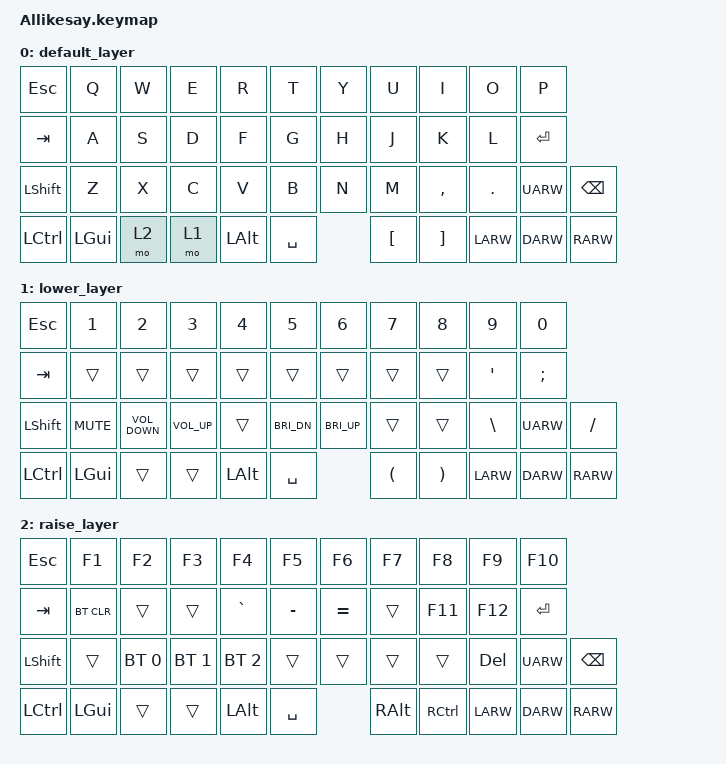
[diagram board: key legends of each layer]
/*
 * Copyright (c) 2020 The ZMK Contributors
 *
 * SPDX-License-Identifier: MIT
 */

#include <behaviors.dtsi>
#include <dt-bindings/zmk/keys.h>
#include <dt-bindings/zmk/bt.h>

/ {
        keymap {
                compatible = "zmk,keymap";

                default_layer {
// -----------------------------------------------------------------------------------------
// | ESC |  Q  |  W  |  E  |  R  |  T  |  Y  |  U   |  I  |  O   |  P   |
// | TAB |  A  |  S  |  D  |  F  |  G  |  H  |  J   |  K  |  L   | ENT  |
// | SHFT|  Z  |  X  |  C  |  V  |  B  |  N  |  M   |  ,  |  .   | UARW | BKSP |
// | CTRL| GUI | ins | num | ALT |     SPC   |  [   |  ]  | LARW | DARW | RARW |
// -----------------------------------------------------------------------------------------

                        bindings = <
   &kp ESC    &kp Q     &kp W   &kp E  &kp R    &kp T       &kp Y     &kp U    &kp I      &kp O     &kp P    
   &kp TAB    &kp A     &kp S   &kp D  &kp F    &kp G       &kp H     &kp J    &kp K      &kp L     &kp RET 
   &kp LSHFT  &kp Z     &kp X   &kp C  &kp V    &kp B       &kp N     &kp M    &kp COMMA  &kp DOT   &kp UARW  &kp BSPC
   &kp LCTRL  &kp LGUI  &mo 2   &mo 1  &kp LALT &kp SPACE             &kp LBKT  &kp RBKT  &kp LARW  &kp DARW  &kp RARW
                        >;
                };
                lower_layer {
// -----------------------------------------------------------------------------------------                
// | ESC |  1  |  2  |  3  |  4  |  5  |  6  |  7  |  8  |  9  |  0  |
// | TAB |     |     |     |     |     |     |     |     |  '  |  ;  |
// | SHFT|mute |vdown| vup |     | brdn| brup|     |     |  \  | UARW | /   |
// | CTRL| GUI |     |     | ALT |    SPC    |  (  |  )  | LARW| DARW | RARW|
// -----------------------------------------------------------------------------------------

                        bindings = <
   &kp ESC   &kp N1     &kp N2             &kp N3             &kp N4       &kp N5        &kp N6          &kp N7    &kp N8      &kp N9     &kp N0    
   &kp TAB   &trans     &trans             &trans             &trans       &trans        &trans          &trans    &trans      &kp APOS   &kp SEMICOLON
   &kp LSHFT &kp C_MUTE &kp C_VOLUME_DOWN  &kp C_VOLUME_UP    &trans       &kp C_BRI_DN  &kp C_BRI_UP    &trans    &trans      &kp BSLH   &kp UARW      &kp FSLH
   &kp LCTRL &kp LGUI   &trans             &trans             &kp LALT     &kp SPACE                     &kp LPAR  &kp RPAR    &kp LARW   &kp DARW      &kp RARW
                        >;
                };

                raise_layer {
// -----------------------------------------------------------------------------------------
// | ESC  | f1  | f2  | f3  | f4  | f5  | f6  | f7  | f8  | f9  | f10 |
// | TAB  | btcr|     |     |  `  |  -  |  =  |     | f11 | f12 | ENT |
// | SHFT |     | bt1 | bt2 | bt3 |     |     |     |     | DEL | UARW| BKSP|
// | CTRL | GUI |     |     | ALT |    SPC    | LALT|RCTRL| LARW| DARW| RARW|
// -----------------------------------------------------------------------------------------

                        bindings = <
   &kp ESC   &kp F1       &kp F2         &kp F3          &kp F4         &kp F5      &kp F6     &kp F7     &kp F8     &kp F9    &kp F10
   &kp TAB   &bt BT_CLR   &trans         &trans          &kp GRAVE      &kp MINUS   &kp EQUAL  &trans     &kp F11    &kp F12   &kp RET
   &kp LSHFT &trans       &bt BT_SEL 0   &bt BT_SEL 1    &bt BT_SEL 2   &trans      &trans     &trans     &trans     &kp DEL   &kp UARW    &kp BSPC
   &kp LCTRL &kp LGUI     &trans         &trans          &kp LALT       &kp SPACE              &kp RALT   &kp RCTRL  &kp LARW  &kp DARW    &kp RARW
                        >;
                };
        };
};
